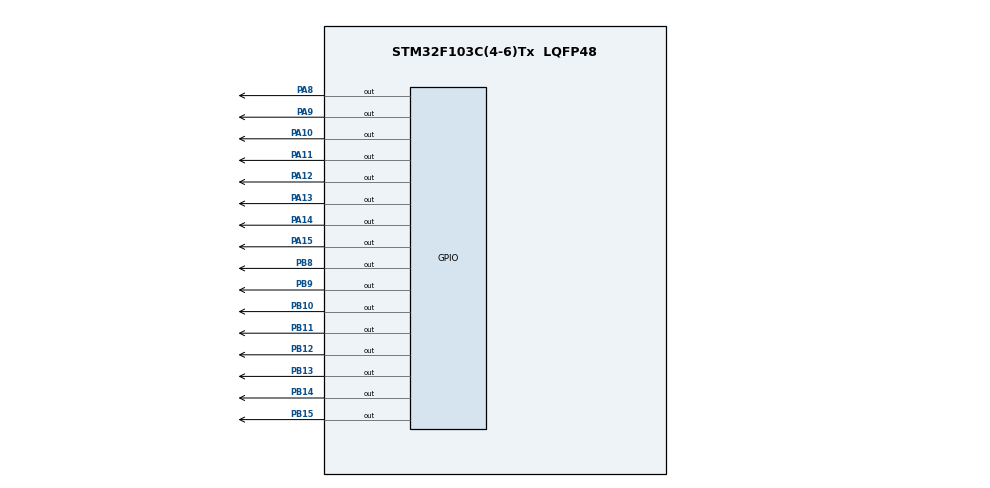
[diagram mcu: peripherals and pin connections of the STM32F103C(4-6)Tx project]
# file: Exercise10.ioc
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Mcu.Family=STM32F1
Mcu.Name=STM32F103C(4-6)Tx
Mcu.Package=LQFP48
NVIC.PriorityGroup=NVIC_PRIORITYGROUP_4
NVIC.TIM2_IRQn=true\:0\:0\:false\:false\:true\:true\:true
PA10.Signal=GPIO_Output
PA11.Signal=GPIO_Output
PA12.Signal=GPIO_Output
PA13.Signal=GPIO_Output
PA14.Signal=GPIO_Output
PA15.Signal=GPIO_Output
PA8.Signal=GPIO_Output
PA9.Signal=GPIO_Output
PB10.Signal=GPIO_Output
PB11.Signal=GPIO_Output
PB12.Signal=GPIO_Output
PB13.Signal=GPIO_Output
PB14.Signal=GPIO_Output
PB15.Signal=GPIO_Output
PB8.Signal=GPIO_Output
PB9.Signal=GPIO_Output
PD0-OSC_IN.Mode=HSE-External-Oscillator
PD0-OSC_IN.Signal=RCC_OSC_IN
PD1-OSC_OUT.Mode=HSE-External-Oscillator
PD1-OSC_OUT.Signal=RCC_OSC_OUT
ProjectManager.HeapSize=0x200
ProjectManager.StackSize=0x400
ProjectManager.TargetToolchain=STM32CubeIDE
RCC.APB1Freq_Value=8000000
RCC.APB2Freq_Value=8000000
TIM2.Period=10-1
TIM2.Prescaler=800-1
VP_SYS_VS_ND.Mode=No_Debug
VP_TIM2_VS_ClockSourceINT.Mode=Internal
board=custom

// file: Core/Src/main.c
/* USER CODE BEGIN Header */
/**
  ******************************************************************************
  * @file           : main.c
  * @brief          : Main program body
  ******************************************************************************
  * @attention
  *
  * <h2><center>&copy; Copyright (c) 2021 STMicroelectronics.
  * All rights reserved.</center></h2>
  *
  * This software component is licensed by ST under BSD 3-Clause license,
  * the "License"; You may not use this file except in compliance with the
  * License. You may obtain a copy of the License at:
  *                        opensource.org/licenses/BSD-3-Clause
  *
  ******************************************************************************
  */
/* USER CODE END Header */
#include "main.h"

TIM_HandleTypeDef htim2;

void SystemClock_Config(void);
static void MX_GPIO_Init(void);
static void MX_TIM2_Init(void);

/* USER CODE BEGIN 0 */

int timer0_counter = 0;
int timer0_flag = 0;
int TIMER_CYCLE = 10;

void setTimer0(int duration){
	timer0_counter = duration/TIMER_CYCLE;
	timer0_flag = 0;
}

void timer_run(){
	if(timer0_counter > 0){
		timer0_counter--;
		if(timer0_counter == 0){
			timer0_flag = 1;
		}
	}
}
//Số LED trong maxtrix tối đa
const int MAX_LED_MATRIX = 8;
//Mảng chứa các thành phần 8bits sẽ hiển thị trên matrix LED
uint8_t matrix_buffer1[9] = {0x18, 0x3C, 0x66, 0x66, 0x7E, 0x7E, 0x66, 0x66, 0x00};
uint8_t matrix_buffer2[9] = {0x18, 0x3C, 0x66, 0x66, 0x7E, 0x7E, 0x66, 0x66, 0x00};
int index_led_matrix = 0;
void displayColMatrix(int index){
	HAL_GPIO_WritePin(GPIOB, GPIO_PIN_8, (matrix_buffer2[index]>>0)&0x01);
	HAL_GPIO_WritePin(GPIOB, GPIO_PIN_9, (matrix_buffer2[index]>>1)&0x01);
	HAL_GPIO_WritePin(GPIOB, GPIO_PIN_10, (matrix_buffer2[index]>>2)&0x01);
	HAL_GPIO_WritePin(GPIOB, GPIO_PIN_11, (matrix_buffer2[index]>>3)&0x01);
	HAL_GPIO_WritePin(GPIOB, GPIO_PIN_12, (matrix_buffer2[index]>>4)&0x01);
	HAL_GPIO_WritePin(GPIOB, GPIO_PIN_13, (matrix_buffer2[index]>>5)&0x01);
	HAL_GPIO_WritePin(GPIOB, GPIO_PIN_14, (matrix_buffer2[index]>>6)&0x01);
	HAL_GPIO_WritePin(GPIOB, GPIO_PIN_15, (matrix_buffer2[index]>>7)&0x01);
}
void displayRowMatrix(int index){
	HAL_GPIO_WritePin(GPIOA, GPIO_PIN_8, (index>>0)&0x01);
	HAL_GPIO_WritePin(GPIOA, GPIO_PIN_9, (index>>1)&0x01);
	HAL_GPIO_WritePin(GPIOA, GPIO_PIN_10, (index>>2)&0x01);
	HAL_GPIO_WritePin(GPIOA, GPIO_PIN_11, (index>>3)&0x01);
	HAL_GPIO_WritePin(GPIOA, GPIO_PIN_12, (index>>4)&0x01);
	HAL_GPIO_WritePin(GPIOA, GPIO_PIN_13, (index>>5)&0x01);
	HAL_GPIO_WritePin(GPIOA, GPIO_PIN_14, (index>>6)&0x01);
	HAL_GPIO_WritePin(GPIOA, GPIO_PIN_15, (index>>7)&0x01);
}
void updateShiftLED(){
	int temp = matrix_buffer1[0]%2;
	matrix_buffer1[0] = (matrix_buffer1[0]>>1) + (temp<<7);
	temp = matrix_buffer1[1]%2;
	matrix_buffer1[1] = (matrix_buffer1[1]>>1) + (temp<<7);
	temp = matrix_buffer1[2]%2;
	matrix_buffer1[2] = (matrix_buffer1[2]>>1) + (temp<<7);
	temp = matrix_buffer1[3]%2;
	matrix_buffer1[3] = (matrix_buffer1[3]>>1) + (temp<<7);
	temp = matrix_buffer1[4]%2;
	matrix_buffer1[4] = (matrix_buffer1[4]>>1) + (temp<<7);
	temp = matrix_buffer1[5]%2;
	matrix_buffer1[5] = (matrix_buffer1[5]>>1) + (temp<<7);
	temp = matrix_buffer1[6]%2;
	matrix_buffer1[6] = (matrix_buffer1[6]>>1) + (temp<<7);
	temp = matrix_buffer1[7]%2;
	matrix_buffer1[7] = (matrix_buffer1[7]>>1) + (temp<<7);
}
void updateLEDMatrix (int index ){
	displayRowMatrix(0x01<<index);
	displayColMatrix(index);
}
void updateBuffer(){
	matrix_buffer2[0] = matrix_buffer1[0];
	matrix_buffer2[1] = matrix_buffer1[1];
	matrix_buffer2[2] = matrix_buffer1[2];
	matrix_buffer2[3] = matrix_buffer1[3];
	matrix_buffer2[4] = matrix_buffer1[4];
	matrix_buffer2[5] = matrix_buffer1[5];
	matrix_buffer2[6] = matrix_buffer1[6];
	matrix_buffer2[7] = matrix_buffer1[7];
}

/* USER CODE END 0 */

int main(void)
{

  /* MCU Configuration--------------------------------------------------------*/

  /* Reset of all peripherals, Initializes the Flash interface and the Systick. */
  HAL_Init();

  /* Configure the system clock */
  SystemClock_Config();

  /* Initialize all configured peripherals */
  MX_GPIO_Init();
  MX_TIM2_Init();
  /* USER CODE BEGIN 2 */
  HAL_TIM_Base_Start_IT(&htim2);
  /* USER CODE END 2 */

  /* Infinite loop */
  /* USER CODE BEGIN WHILE */
  setTimer0(1000);
  int delay = 0;
  while (1)
  {
    /* USER CODE END WHILE */

    /* USER CODE BEGIN 3 */
  	if(timer0_flag == 1){
  		//Update lại matrix led theo matrix_buffer[]
  		updateLEDMatrix(index_led_matrix++);
  		if(index_led_matrix == MAX_LED_MATRIX){
  		}
  		if(index_led_matrix > MAX_LED_MATRIX) {
  			updateBuffer();
  			//Reset lại index_led_matrix
  			index_led_matrix = 0;
  			delay++;
  		}
  		if(delay == 5){
  			delay = 0;
  			//Sau khi hiện thị hoàn thành 1 chữ và hiện 5 lần thì update lại matrix_buffer
  			//để dịch chữ sang trái 1 cột
  			updateShiftLED();
  		}
  		setTimer0(10);
  	}
  }
  /* USER CODE END 3 */
}

void SystemClock_Config(void)
{
  RCC_OscInitTypeDef RCC_OscInitStruct = {0};
  RCC_ClkInitTypeDef RCC_ClkInitStruct = {0};

  /** Initializes the RCC Oscillators according to the specified parameters
  * in the RCC_OscInitTypeDef structure.
  */
  RCC_OscInitStruct.OscillatorType = RCC_OSCILLATORTYPE_HSI;
  RCC_OscInitStruct.HSIState = RCC_HSI_ON;
  RCC_OscInitStruct.HSICalibrationValue = RCC_HSICALIBRATION_DEFAULT;
  RCC_OscInitStruct.PLL.PLLState = RCC_PLL_NONE;
  if (HAL_RCC_OscConfig(&RCC_OscInitStruct) != HAL_OK)
  {
    Error_Handler();
  }
  /** Initializes the CPU, AHB and APB buses clocks
  */
  RCC_ClkInitStruct.ClockType = RCC_CLOCKTYPE_HCLK|RCC_CLOCKTYPE_SYSCLK
                              |RCC_CLOCKTYPE_PCLK1|RCC_CLOCKTYPE_PCLK2;
  RCC_ClkInitStruct.SYSCLKSource = RCC_SYSCLKSOURCE_HSI;
  RCC_ClkInitStruct.AHBCLKDivider = RCC_SYSCLK_DIV1;
  RCC_ClkInitStruct.APB1CLKDivider = RCC_HCLK_DIV1;
  RCC_ClkInitStruct.APB2CLKDivider = RCC_HCLK_DIV1;

  if (HAL_RCC_ClockConfig(&RCC_ClkInitStruct, FLASH_LATENCY_0) != HAL_OK)
  {
    Error_Handler();
  }
}

static void MX_TIM2_Init(void)
{

  TIM_ClockConfigTypeDef sClockSourceConfig = {0};
  TIM_MasterConfigTypeDef sMasterConfig = {0};

  htim2.Instance = TIM2;
  htim2.Init.Prescaler = 800-1;
  htim2.Init.CounterMode = TIM_COUNTERMODE_UP;
  htim2.Init.Period = 10-1;
  htim2.Init.ClockDivision = TIM_CLOCKDIVISION_DIV1;
  htim2.Init.AutoReloadPreload = TIM_AUTORELOAD_PRELOAD_DISABLE;
  if (HAL_TIM_Base_Init(&htim2) != HAL_OK)
  {
    Error_Handler();
  }
  sClockSourceConfig.ClockSource = TIM_CLOCKSOURCE_INTERNAL;
  if (HAL_TIM_ConfigClockSource(&htim2, &sClockSourceConfig) != HAL_OK)
  {
    Error_Handler();
  }
  sMasterConfig.MasterOutputTrigger = TIM_TRGO_RESET;
  sMasterConfig.MasterSlaveMode = TIM_MASTERSLAVEMODE_DISABLE;
  if (HAL_TIMEx_MasterConfigSynchronization(&htim2, &sMasterConfig) != HAL_OK)
  {
    Error_Handler();
  }

}

static void MX_GPIO_Init(void)
{
  GPIO_InitTypeDef GPIO_InitStruct = {0};

  /* GPIO Ports Clock Enable */
  __HAL_RCC_GPIOD_CLK_ENABLE();
  __HAL_RCC_GPIOB_CLK_ENABLE();
  __HAL_RCC_GPIOA_CLK_ENABLE();

  /*Configure GPIO pin Output Level */
  HAL_GPIO_WritePin(GPIOB, GPIO_PIN_10|GPIO_PIN_11|GPIO_PIN_12|GPIO_PIN_13
                          |GPIO_PIN_14|GPIO_PIN_15|GPIO_PIN_8|GPIO_PIN_9, GPIO_PIN_RESET);

  /*Configure GPIO pin Output Level */
  HAL_GPIO_WritePin(GPIOA, GPIO_PIN_8|GPIO_PIN_9|GPIO_PIN_10|GPIO_PIN_11
                          |GPIO_PIN_12|GPIO_PIN_13|GPIO_PIN_14|GPIO_PIN_15, GPIO_PIN_RESET);

  /*Configure GPIO pins : PB10 PB11 PB12 PB13
                           PB14 PB15 PB8 PB9 */
  GPIO_InitStruct.Pin = GPIO_PIN_10|GPIO_PIN_11|GPIO_PIN_12|GPIO_PIN_13
                          |GPIO_PIN_14|GPIO_PIN_15|GPIO_PIN_8|GPIO_PIN_9;
  GPIO_InitStruct.Mode = GPIO_MODE_OUTPUT_PP;
  GPIO_InitStruct.Pull = GPIO_NOPULL;
  GPIO_InitStruct.Speed = GPIO_SPEED_FREQ_LOW;
  HAL_GPIO_Init(GPIOB, &GPIO_InitStruct);

  /*Configure GPIO pins : PA8 PA9 PA10 PA11
                           PA12 PA13 PA14 PA15 */
  GPIO_InitStruct.Pin = GPIO_PIN_8|GPIO_PIN_9|GPIO_PIN_10|GPIO_PIN_11
                          |GPIO_PIN_12|GPIO_PIN_13|GPIO_PIN_14|GPIO_PIN_15;
  GPIO_InitStruct.Mode = GPIO_MODE_OUTPUT_PP;
  GPIO_InitStruct.Pull = GPIO_NOPULL;
  GPIO_InitStruct.Speed = GPIO_SPEED_FREQ_LOW;
  HAL_GPIO_Init(GPIOA, &GPIO_InitStruct);

}

/* USER CODE BEGIN 4 */
void HAL_TIM_PeriodElapsedCallback(TIM_HandleTypeDef *htim){
	timer_run();
}

/* USER CODE END 4 */

void Error_Handler(void)
{
  __disable_irq();
  while (1)
  {
  }
}

/************************ (C) COPYRIGHT STMicroelectronics *****END OF FILE****/
